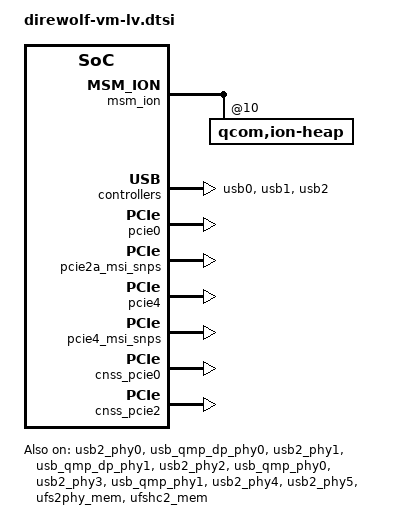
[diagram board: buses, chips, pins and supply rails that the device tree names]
&hab {
	vmid = <3>;
};

&reserved_memory {
	pmem_shared: pmem_shared_region {
		reg = <0x1 0x66500000 0x0 0x51400000>;
		label = "pmem_shared_mem";
	};

	secure_display_memory: secure_display_region {
		compatible = "shared-dma-pool";
		alloc-ranges = <0x0 0x00000000 0x0 0xffffffff>;
		no-map;
		alignment = <0x0 0x400000>;
		size = <0x0 0x0a000000>;
	};
};

&linux_cma {
	size = <0x0 0x3c00000>;
};

#include "display/quin-vm-display-lxc.dtsi"
#include "direwolf-cnss.dtsi"
#include "direwolf-cnss-dual.dtsi"

&msm_ion {
	qcom,ion-heap@10 {
		reg = <ION_SECURE_DISPLAY_HEAP_ID>;
		memory-region = <&secure_display_memory>;
		qcom,ion-heap-type = "HYP_CMA";
	};
};

&usb0 {
	status = "okay";
};

&usb2_phy0 {
	status = "okay";
};

&usb_qmp_dp_phy0 {
	status = "okay";
};

&usb1 {
	status = "okay";
};

&usb2_phy1 {
	status = "okay";
};

&usb_qmp_dp_phy1 {
	status = "okay";
};

&pcie0 {
	status = "okay";
};

&pcie2a_msi_snps {
	status = "okay";
};

&pcie4 {
	status = "okay";
};

&pcie4_msi_snps {
	status = "okay";
};

&usb2 {
	status = "okay";
};

&usb2_phy2 {
	status = "okay";
};

&usb_qmp_phy0 {
	status = "okay";
};

&usb2_phy3 {
	status = "okay";
};

&usb_qmp_phy1 {
	status = "okay";
};

&usb2_phy4 {
	status = "okay";
};

&usb2_phy5 {
	status = "okay";
};

&ufs2phy_mem {
	status = "okay";
};

&ufshc2_mem {
	status = "okay";
};

&cnss_pcie0 {
	status = "ok";
};

&cnss_pcie2 {
	status = "ok";
};
